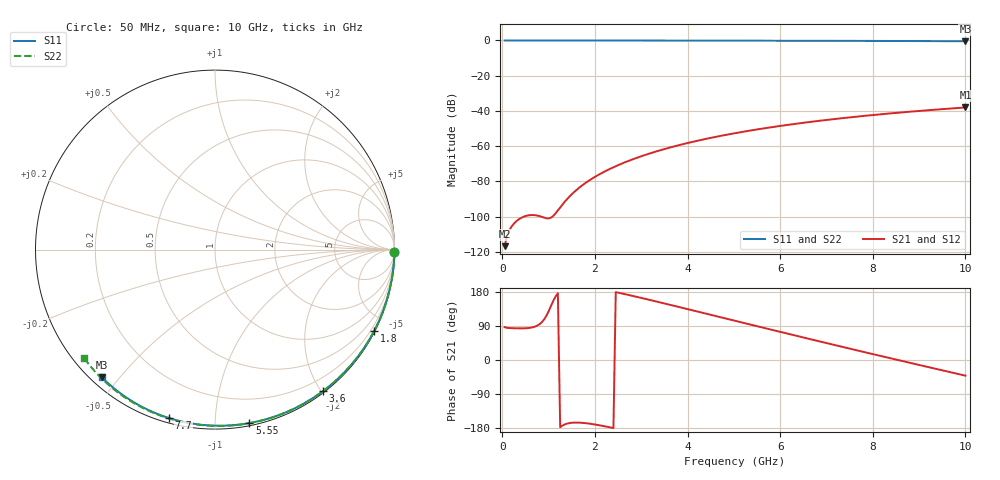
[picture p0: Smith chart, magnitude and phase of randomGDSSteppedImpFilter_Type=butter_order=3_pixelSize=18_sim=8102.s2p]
! freq	dB(S11)	phase(S11)	dB(S12)	phase(S12)
!  dB(S21)	phase(S21)	dB(S22)	phase(S22)
!S-par simulation data
#  GHz  S  DB  R 50
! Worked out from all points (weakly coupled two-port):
!   200 points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, 50 MHz to 10 GHz, reference 50 ohm
!   highest |S21| = -38.05 dB at 10 GHz (marker M1); lowest = -116.8 dB at 50 MHz (marker M2)
!   lowest |S11| = -0.4 dB at 10 GHz (marker M3), VSWR 39.02, Z = 1.54 - j22.4 ohm
!   |S11| at or under -10 dB: nowhere
!   |S22| runs from -0.5 to 0.0 dB; largest |S21 - S12| = 0
!   S11 on the Smith chart (normalised r, x): 50 MHz: open; 1.8 GHz: 0.04, -4.17; 3.6 GHz: 0.02, -2.02; 5.55 GHz: 0.02, -1.22; 7.7 GHz: 0.02, -0.76; 10 GHz: 0.03, -0.45
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0.05  -0.00 -0.8  -116.77 86.7  -116.77 86.7  -0.00 -0.8
0.45  -0.01 -6.8  -100.17 83.5  -100.17 83.5  -0.01 -7.3
0.9  -0.02 -13.6  -100.55 106.5  -100.55 106.5  -0.02 -14.6
1.75  -0.03 -26.2  -81.77 -166.1  -81.77 -166.1  -0.04 -28.0
1.8  -0.03 -27.0  -80.83 -166.7  -80.83 -166.7  -0.04 -28.8
1.85  -0.04 -27.7  -79.93 -167.5  -79.93 -167.5  -0.04 -29.6
2  -0.04 -29.9  -77.44 -170.2  -77.44 -170.2  -0.04 -32.0
2.15  -0.04 -32.1  -75.22 -173.4  -75.22 -173.4  -0.04 -34.3
2.35  -0.04 -35.0  -72.58 -178.3  -72.58 -178.3  -0.05 -37.4
2.55  -0.05 -37.9  -70.23 176.5  -70.23 176.5  -0.05 -40.5
2.95  -0.06 -43.6  -66.19 165.3  -66.19 165.3  -0.06 -46.6
3.4  -0.07 -50.0  -62.40 152.2  -62.40 152.2  -0.07 -53.3
3.6  -0.07 -52.7  -60.91 146.3  -60.91 146.3  -0.08 -56.3
4.3  -0.09 -62.3  -56.42 125.3  -56.42 125.3  -0.09 -66.5
5.05  -0.11 -72.3  -52.52 102.8  -52.52 102.8  -0.12 -77.1
5.55  -0.13 -78.8  -50.30 87.7  -50.30 87.7  -0.14 -83.9
6.1  -0.15 -85.8  -48.15 71.3  -48.15 71.3  -0.16 -91.3
6.7  -0.18 -93.2  -46.07 53.5  -46.07 53.5  -0.19 -99.2
7.7  -0.24 -105.2  -43.12 24.2  -43.12 24.2  -0.26 -112.0
8.35  -0.29 -112.8  -41.47 5.5  -41.47 5.5  -0.31 -120.2
9.2  -0.36 -122.6  -39.59 -18.7  -39.59 -18.7  -0.39 -130.7
10  -0.45 -131.6  -38.05 -41.3  -38.05 -41.3  -0.47 -140.5
